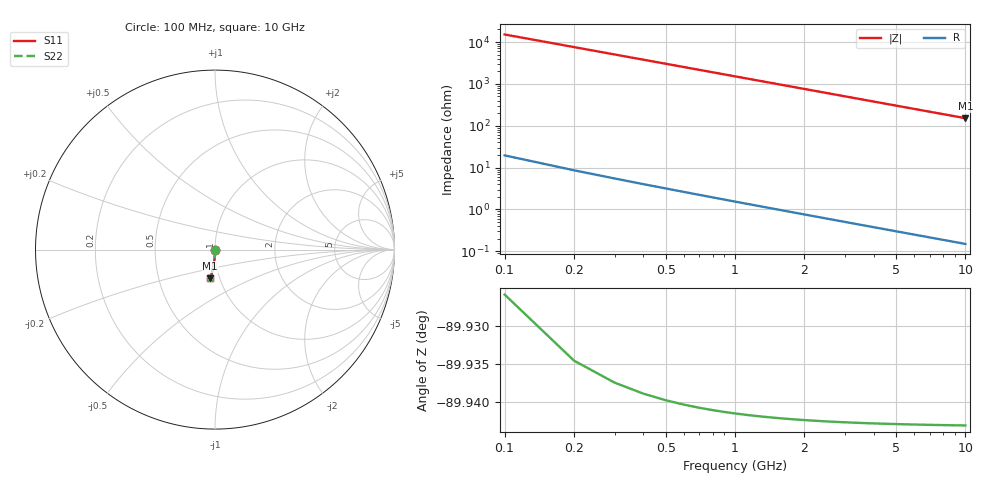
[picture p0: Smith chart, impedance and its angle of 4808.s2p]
# Hz S RI R 50.00
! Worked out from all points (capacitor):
!   100 points, 100 MHz to 10 GHz, reference 50 ohm
!   read as one part in shunt: C = 105 fF near 100 MHz
!   lowest |Z| = 151 ohm at 10 GHz (marker M1)
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1e8  4.8e-06 -0.00164  1 -0.00167  1 -0.00167  4.8e-06 -0.00164
2e8  -4.95e-06 -0.00327  1 -0.00333  1 -0.00333  -4.95e-06 -0.00327
3e8  -2.02e-05 -0.00491  1 -0.005  1 -0.005  -2.02e-05 -0.00491
4e8  -4.09e-05 -0.00655  0.9999 -0.00667  0.9999 -0.00667  -4.09e-05 -0.00655
5e8  -6.7e-05 -0.00818  0.9999 -0.00833  0.9999 -0.00833  -6.7e-05 -0.00818
6e8  -9.86e-05 -0.00982  0.9999 -0.01  0.9999 -0.01  -9.86e-05 -0.00982
7e8  -0.000136 -0.0115  0.9998 -0.0117  0.9998 -0.0117  -0.000136 -0.0115
8e8  -0.000178 -0.0131  0.9998 -0.0133  0.9998 -0.0133  -0.000178 -0.0131
9e8  -0.000226 -0.0147  0.9998 -0.015  0.9998 -0.015  -0.000226 -0.0147
1.1e9  -0.000338 -0.018  0.9996 -0.0183  0.9996 -0.0183  -0.000338 -0.018
1.4e9  -0.000548 -0.0229  0.9994 -0.0233  0.9994 -0.0233  -0.000548 -0.0229
1.8e9  -0.000903 -0.0294  0.9991 -0.03  0.9991 -0.03  -0.000903 -0.0294
2.1e9  -0.00123 -0.0343  0.9988 -0.035  0.9988 -0.035  -0.00123 -0.0343
2.5e9  -0.00173 -0.0408  0.9982 -0.0416  0.9982 -0.0416  -0.00173 -0.0408
2.9e9  -0.00233 -0.0473  0.9977 -0.0482  0.9977 -0.0482  -0.00233 -0.0473
3.4e9  -0.00319 -0.0554  0.9968 -0.0565  0.9968 -0.0565  -0.00319 -0.0554
4.2e9  -0.00484 -0.0684  0.9951 -0.0697  0.9951 -0.0697  -0.00484 -0.0684
5.1e9  -0.00711 -0.0828  0.9929 -0.0844  0.9929 -0.0844  -0.00711 -0.0828
5.9e9  -0.00948 -0.0956  0.9905 -0.0974  0.9905 -0.0974  -0.00948 -0.0956
6.7e9  -0.0122 -0.1082  0.9878 -0.1103  0.9878 -0.1103  -0.0122 -0.1082
8.4e9  -0.019 -0.1347  0.981 -0.1373  0.981 -0.1373  -0.019 -0.1347
1e10  -0.0267 -0.1591  0.9733 -0.1622  0.9733 -0.1622  -0.0267 -0.1591
